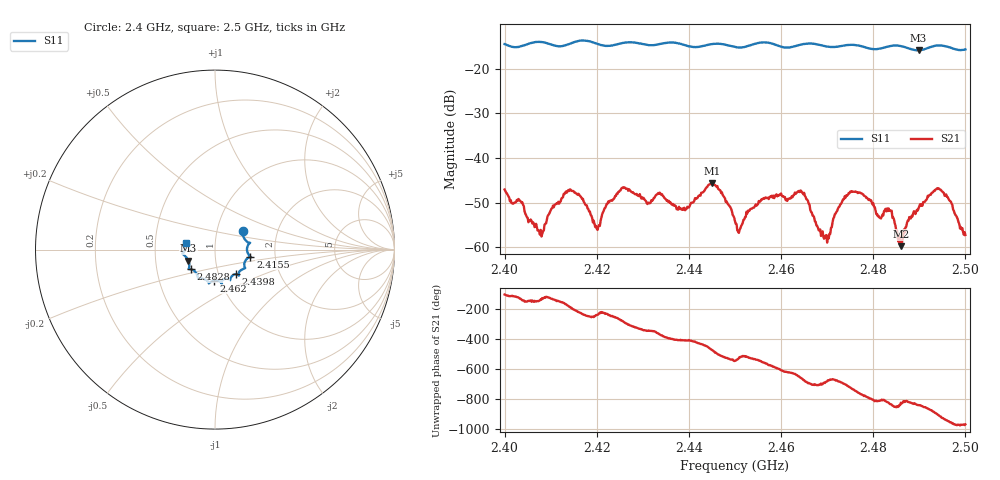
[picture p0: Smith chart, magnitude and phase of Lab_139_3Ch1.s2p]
# Hz S RI R 50
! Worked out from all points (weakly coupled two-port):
!   601 points, 2.4 GHz to 2.5 GHz, reference 50 ohm
!   highest |S21| = -45.60 dB at 2.445 GHz (marker M1); lowest = -59.7 dB at 2.486 GHz (marker M2)
!   lowest |S11| = -15.9 dB at 2.4898 GHz (marker M3), VSWR 1.38, Z = 36.8 - j4.62 ohm
!   |S11| at or under -10 dB: start of sweep to end of sweep
!   S12 and S22 are empty: the file has one direction only
!   S11 on the Smith chart (normalised r, x): 2.4 GHz: 1.33, +0.29; 2.4155 GHz: 1.49, -0.12; 2.4398 GHz: 1.21, -0.34; 2.462 GHz: 0.93, -0.33; 2.4828 GHz: 0.74, -0.17; 2.5 GHz: 0.72, +0.06
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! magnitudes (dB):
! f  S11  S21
! 2.4 GHz  -14.5  -47.1
! 2.408 GHz  -14.0  -57.6
! 2.4107 GHz  -14.8  -51.0
! 2.4155 GHz  -13.9  -47.9
! 2.4167 GHz  -13.7  -48.9
! 2.4202 GHz  -14.5  -56.1
! 2.4255 GHz  -14.3  -46.7
! 2.4333 GHz  -14.6  -47.8
! 2.4398 GHz  -15.0  -51.1
! 2.445 GHz  -14.5  -45.6
! 2.45 GHz  -15.2  -54.2
! 2.462 GHz  -15.2  -49.0
! 2.4645 GHz  -14.6  -47.7
! 2.4667 GHz  -14.4  -52.2
! 2.4698 GHz  -15.0  -57.3
! 2.4752 GHz  -14.7  -47.6
! 2.4828 GHz  -15.1  -52.0
! 2.4833 GHz  -15.0  -51.3
! 2.486 GHz  -14.9  -59.7
! 2.4898 GHz  -15.9  -51.3
! 2.4943 GHz  -14.8  -46.9
! 2.5 GHz  -15.7  -57.2
